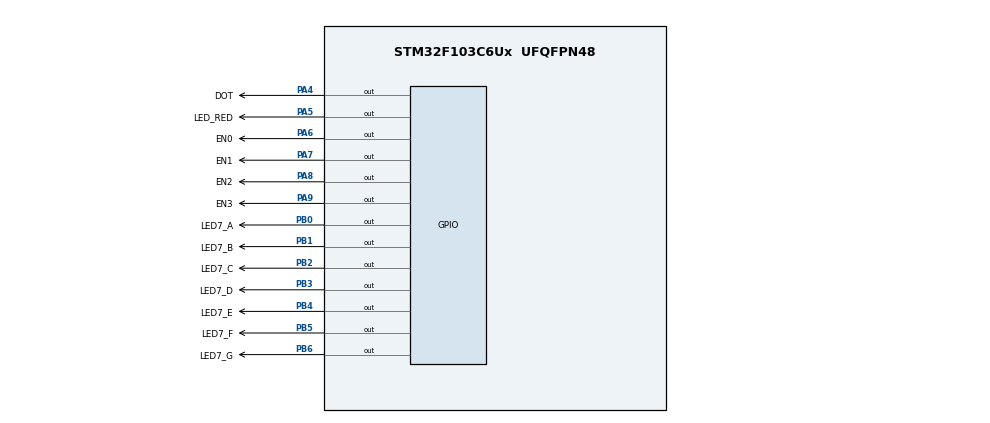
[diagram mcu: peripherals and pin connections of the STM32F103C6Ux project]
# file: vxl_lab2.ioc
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Mcu.Family=STM32F1
Mcu.Name=STM32F103C6Ux
Mcu.Package=UFQFPN48
NVIC.PriorityGroup=NVIC_PRIORITYGROUP_4
NVIC.TIM2_IRQn=true\:0\:0\:false\:false\:true\:true\:true
PA4.GPIO_Label=DOT
PA4.Signal=GPIO_Output
PA5.GPIO_Label=LED_RED
PA5.Signal=GPIO_Output
PA6.GPIO_Label=EN0
PA6.Signal=GPIO_Output
PA7.GPIO_Label=EN1
PA7.Signal=GPIO_Output
PA8.GPIO_Label=EN2
PA8.Signal=GPIO_Output
PA9.GPIO_Label=EN3
PA9.Signal=GPIO_Output
PB0.GPIO_Label=LED7_A
PB0.Signal=GPIO_Output
PB1.GPIO_Label=LED7_B
PB1.Signal=GPIO_Output
PB2.GPIO_Label=LED7_C
PB2.Signal=GPIO_Output
PB3.GPIO_Label=LED7_D
PB3.Signal=GPIO_Output
PB4.GPIO_Label=LED7_E
PB4.Signal=GPIO_Output
PB5.GPIO_Label=LED7_F
PB5.Signal=GPIO_Output
PB6.GPIO_Label=LED7_G
PB6.Signal=GPIO_Output
ProjectManager.HeapSize=0x200
ProjectManager.StackSize=0x400
ProjectManager.TargetToolchain=STM32CubeIDE
RCC.APB1Freq_Value=8000000
RCC.APB2Freq_Value=8000000
TIM2.Period=9
TIM2.Prescaler=7999
VP_SYS_VS_ND.Mode=No_Debug
VP_TIM2_VS_ClockSourceINT.Mode=Internal
board=custom

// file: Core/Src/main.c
/* USER CODE BEGIN Header */
/**
  ******************************************************************************
  * @file           : main.c
  * @brief          : Main program body
  ******************************************************************************
  * @attention
  *
  * <h2><center>&copy; Copyright (c) 2023 STMicroelectronics.
  * All rights reserved.</center></h2>
  *
  * This software component is licensed by ST under BSD 3-Clause license,
  * the "License"; You may not use this file except in compliance with the
  * License. You may obtain a copy of the License at:
  *                        opensource.org/licenses/BSD-3-Clause
  *
  ******************************************************************************
  */
/* USER CODE END Header */
#include "main.h"

/* USER CODE BEGIN Includes */
#include "timer.h"
#include "7seg_clock.h"

/* USER CODE END Includes */

TIM_HandleTypeDef htim2;

void SystemClock_Config(void);
static void MX_TIM2_Init(void);
static void MX_GPIO_Init(void);

int main(void)
{

  /* MCU Configuration--------------------------------------------------------*/

  /* Reset of all peripherals, Initializes the Flash interface and the Systick. */
  HAL_Init();

  /* Configure the system clock */
  SystemClock_Config();

  /* Initialize all configured peripherals */
  MX_TIM2_Init();
  MX_GPIO_Init();
  /* USER CODE BEGIN 2 */
  HAL_TIM_Base_Start_IT (&htim2);

  // exercise 8
        int hour = 15, minute = 8, second = 50;
        int index_clk = 0;
        timer_set(0, 10);
        timer_set(1, 10);

  /* USER CODE END 2 */

  /* Infinite loop */
  while (1)
  {

    /* USER CODE BEGIN 3 */
	  	  //exercise 8
	  	  if (timer_flag[0] == 1){
	 	  	  HAL_GPIO_TogglePin(DOT_GPIO_Port, DOT_Pin);
	 	  	  second++;
	 	  	  if (second >= 60){
	 	  		  second = 0 ;
	 	  		  minute++;
	 	  	  }
	 	  	  if (minute >= 60) {
	 	  		  minute = 0;
	 	  		  hour++;
	 	  	  }
	 	  	  if (hour >= 24) {
	 	  		  hour = 0;
	 	  	  }
	 	  	  //update hour & minute
	 	  	  	  // update hour
	 	  	  	  update7SEG(0 , hour);
	  		  	  updateClockBuffer (0 , hour);
	  		  	  display7SEG(0);
	  		  	  HAL_Delay(100);

	  		  	  update7SEG(1 , hour);
	  		  	  updateClockBuffer (1 , hour);
	  		  	  display7SEG(1);
	  		  	  HAL_Delay(100);

	  		  	  // update minute
	  		  	  update7SEG(2 , minute);
	  		  	  updateClockBuffer (2 , minute);
	  		  	  display7SEG(2);
	  		  	  HAL_Delay(100);

	  		  	  update7SEG(3 , minute);
	  		  	  updateClockBuffer (3 , minute);
	  		  	  display7SEG(3);
	  		  	  HAL_Delay(100);

	  		  	  // delay
	  		  	  timer_set(0 , 1000);

	  	  	  }

	  	  if (timer_flag[1] == 1){
	  		  //display
	  		  display7SEG(index_clk++);
	  		  if (index_clk > 3) index_clk = 0 ;
	  		  //delay
	  		  timer_set(1, 250);

	  	  }
  	 }
  /* USER CODE END 3 */
}

void SystemClock_Config(void)
{
  RCC_OscInitTypeDef RCC_OscInitStruct = {0};
  RCC_ClkInitTypeDef RCC_ClkInitStruct = {0};

  /** Initializes the RCC Oscillators according to the specified parameters
  * in the RCC_OscInitTypeDef structure.
  */
  RCC_OscInitStruct.OscillatorType = RCC_OSCILLATORTYPE_HSI;
  RCC_OscInitStruct.HSIState = RCC_HSI_ON;
  RCC_OscInitStruct.HSICalibrationValue = RCC_HSICALIBRATION_DEFAULT;
  RCC_OscInitStruct.PLL.PLLState = RCC_PLL_NONE;
  if (HAL_RCC_OscConfig(&RCC_OscInitStruct) != HAL_OK)
  {
    Error_Handler();
  }
  /** Initializes the CPU, AHB and APB buses clocks
  */
  RCC_ClkInitStruct.ClockType = RCC_CLOCKTYPE_HCLK|RCC_CLOCKTYPE_SYSCLK
                              |RCC_CLOCKTYPE_PCLK1|RCC_CLOCKTYPE_PCLK2;
  RCC_ClkInitStruct.SYSCLKSource = RCC_SYSCLKSOURCE_HSI;
  RCC_ClkInitStruct.AHBCLKDivider = RCC_SYSCLK_DIV1;
  RCC_ClkInitStruct.APB1CLKDivider = RCC_HCLK_DIV1;
  RCC_ClkInitStruct.APB2CLKDivider = RCC_HCLK_DIV1;

  if (HAL_RCC_ClockConfig(&RCC_ClkInitStruct, FLASH_LATENCY_0) != HAL_OK)
  {
    Error_Handler();
  }
}

static void MX_TIM2_Init(void)
{

  TIM_ClockConfigTypeDef sClockSourceConfig = {0};
  TIM_MasterConfigTypeDef sMasterConfig = {0};

  htim2.Instance = TIM2;
  htim2.Init.Prescaler = 7999;
  htim2.Init.CounterMode = TIM_COUNTERMODE_UP;
  htim2.Init.Period = 9;
  htim2.Init.ClockDivision = TIM_CLOCKDIVISION_DIV1;
  htim2.Init.AutoReloadPreload = TIM_AUTORELOAD_PRELOAD_DISABLE;
  if (HAL_TIM_Base_Init(&htim2) != HAL_OK)
  {
    Error_Handler();
  }
  sClockSourceConfig.ClockSource = TIM_CLOCKSOURCE_INTERNAL;
  if (HAL_TIM_ConfigClockSource(&htim2, &sClockSourceConfig) != HAL_OK)
  {
    Error_Handler();
  }
  sMasterConfig.MasterOutputTrigger = TIM_TRGO_RESET;
  sMasterConfig.MasterSlaveMode = TIM_MASTERSLAVEMODE_DISABLE;
  if (HAL_TIMEx_MasterConfigSynchronization(&htim2, &sMasterConfig) != HAL_OK)
  {
    Error_Handler();
  }

}

static void MX_GPIO_Init(void)
{
  GPIO_InitTypeDef GPIO_InitStruct = {0};

  /* GPIO Ports Clock Enable */
  __HAL_RCC_GPIOA_CLK_ENABLE();
  __HAL_RCC_GPIOB_CLK_ENABLE();

  /*Configure GPIO pin Output Level */
  HAL_GPIO_WritePin(GPIOA, DOT_Pin|LED_RED_Pin|EN0_Pin|EN1_Pin
                          |EN2_Pin|EN3_Pin, GPIO_PIN_RESET);

  /*Configure GPIO pin Output Level */
  HAL_GPIO_WritePin(GPIOB, LED7_A_Pin|LED7_B_Pin|LED7_C_Pin|LED7_D_Pin
                          |LED7_E_Pin|LED7_F_Pin|LED7_G_Pin, GPIO_PIN_RESET);

  /*Configure GPIO pins : DOT_Pin LED_RED_Pin EN0_Pin EN1_Pin
                           EN2_Pin EN3_Pin */
  GPIO_InitStruct.Pin = DOT_Pin|LED_RED_Pin|EN0_Pin|EN1_Pin
                          |EN2_Pin|EN3_Pin;
  GPIO_InitStruct.Mode = GPIO_MODE_OUTPUT_PP;
  GPIO_InitStruct.Pull = GPIO_NOPULL;
  GPIO_InitStruct.Speed = GPIO_SPEED_FREQ_LOW;
  HAL_GPIO_Init(GPIOA, &GPIO_InitStruct);

  /*Configure GPIO pins : LED7_A_Pin LED7_B_Pin LED7_C_Pin LED7_D_Pin
                           LED7_E_Pin LED7_F_Pin LED7_G_Pin */
  GPIO_InitStruct.Pin = LED7_A_Pin|LED7_B_Pin|LED7_C_Pin|LED7_D_Pin
                          |LED7_E_Pin|LED7_F_Pin|LED7_G_Pin;
  GPIO_InitStruct.Mode = GPIO_MODE_OUTPUT_PP;
  GPIO_InitStruct.Pull = GPIO_NOPULL;
  GPIO_InitStruct.Speed = GPIO_SPEED_FREQ_LOW;
  HAL_GPIO_Init(GPIOB, &GPIO_InitStruct);

}

void Error_Handler(void)
{
  __disable_irq();
  while (1)
  {
  }
}

/************************ (C) COPYRIGHT STMicroelectronics *****END OF FILE****/
